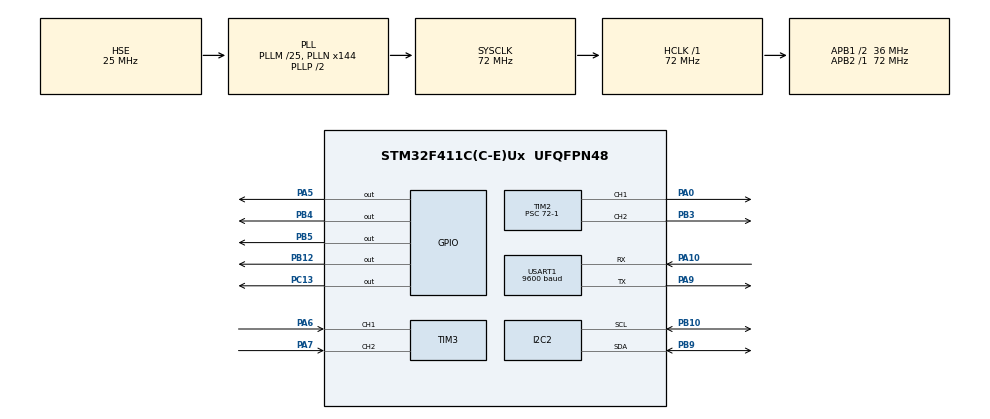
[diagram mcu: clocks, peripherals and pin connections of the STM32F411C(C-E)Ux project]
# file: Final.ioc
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Mcu.Family=STM32F4
Mcu.Name=STM32F411C(C-E)Ux
Mcu.Package=UFQFPN48
NVIC.PriorityGroup=NVIC_PRIORITYGROUP_4
NVIC.USART1_IRQn=true\:0\:0\:false\:false\:true\:true\:true\:true
PA0-WKUP.Signal=S_TIM2_CH1_ETR
PA10.Mode=Asynchronous
PA10.Signal=USART1_RX
PA5.Signal=GPIO_Output
PA6.Signal=S_TIM3_CH1
PA7.Signal=S_TIM3_CH2
PA9.Mode=Asynchronous
PA9.Signal=USART1_TX
PB10.Mode=I2C
PB10.Signal=I2C2_SCL
PB12.Signal=GPIO_Output
PB3.Signal=S_TIM2_CH2
PB4.Signal=GPIO_Output
PB5.Signal=GPIO_Output
PB9.Mode=I2C
PB9.Signal=I2C2_SDA
PC13-ANTI_TAMP.Signal=GPIO_Output
PH0\ -\ OSC_IN.Mode=HSE-External-Oscillator
PH0\ -\ OSC_IN.Signal=RCC_OSC_IN
PH1\ -\ OSC_OUT.Mode=HSE-External-Oscillator
PH1\ -\ OSC_OUT.Signal=RCC_OSC_OUT
ProjectManager.HeapSize=0x200
ProjectManager.StackSize=0x400
ProjectManager.TargetToolchain=STM32CubeIDE
RCC.48MHZClocksFreq_Value=36000000
RCC.AHBFreq_Value=72000000
RCC.APB1CLKDivider=RCC_HCLK_DIV2
RCC.APB1Freq_Value=36000000
RCC.APB1TimFreq_Value=72000000
RCC.APB2Freq_Value=72000000
RCC.APB2TimFreq_Value=72000000
RCC.CortexFreq_Value=72000000
RCC.HCLKFreq_Value=72000000
RCC.HSE_VALUE=25000000
RCC.HSI_VALUE=16000000
RCC.LSE_VALUE=32768
RCC.PLLM=25
RCC.PLLN=144
RCC.PLLSourceVirtual=RCC_PLLSOURCE_HSE
RCC.SYSCLKFreq_VALUE=72000000
RCC.SYSCLKSource=RCC_SYSCLKSOURCE_PLLCLK
RCC.VCOOutputFreq_Value=144000000
SH.S_TIM2_CH1_ETR.0=TIM2_CH1,PWM Generation1 CH1
SH.S_TIM2_CH2.0=TIM2_CH2,PWM Generation2 CH2
SH.S_TIM3_CH1.0=TIM3_CH1,Encoder_Interface
SH.S_TIM3_CH2.0=TIM3_CH2,Encoder_Interface
TIM2.Channel-PWM\ Generation1\ CH1=TIM_CHANNEL_1
TIM2.Channel-PWM\ Generation2\ CH2=TIM_CHANNEL_2
TIM2.Period=20000
TIM2.Prescaler=72-1
TIM2.Pulse-PWM\ Generation1\ CH1=500
USART1.BaudRate=9600
USART1.VirtualMode=VM_ASYNC
VP_TIM2_VS_ClockSourceINT.Mode=Internal
board=custom

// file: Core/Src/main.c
/* USER CODE BEGIN Header */
/**
  ******************************************************************************
  * @file           : main.c
  * @brief          : Main program body
  ******************************************************************************
  * @attention
  *
  * Copyright (c) 2024 STMicroelectronics.
  * All rights reserved.
  *
  * This software is licensed under terms that can be found in the LICENSE file
  * in the root directory of this software component.
  * If no LICENSE file comes with this software, it is provided AS-IS.
  *
  ******************************************************************************
  */
/* USER CODE END Header */
#include "main.h"

/* USER CODE BEGIN Includes */
#include <stdio.h>
#include <string.h>
#include <math.h>
#include <stdbool.h>
/* USER CODE END Includes */

/* USER CODE BEGIN PTD */
#define QMC5883L_ADDR        (0x0D << 1)
#define Kp                   4
#define Ki                   0.01
#define MIN_PWM              350
#define CENTER_PWM           500
#define MAX_PWM              650
#define MAX_SPEED            100
#define MIN_SPEED            25
#define CALIBRATION_TIME     10000 // ms
#define ENCODER_PPR          673
#define TIMER_PERIOD         65535
#define PWM_0DEGREES   	     1000  // 1 ms para 0°
#define PWM_180DEGREES 		 2000  // 2 ms para 180°
/* USER CODE END PTD */

/* USER CODE BEGIN PD */
int16_t x_offset = 0, y_offset = 0; // Offset de calibración
int16_t x, y, z;
uint8_t vel=0;
uint8_t pato=0;
uint8_t bucle=1;
int8_t a=20;
char buffer[64];
float angulo;
static uint8_t delay_flag_1 = 0;
static uint8_t delay_flag_2 = 0;
static uint8_t delay_flag_3 = 0;
// Variables globales para el control integral
float integral_sum = 0.0; // Acumulador del término integral
float previous_time = 0.0; // Tiempo previo para cálculo de la integración
uint8_t rxData;
int8_t rot = 0;     // Rango de -9 a 9, valor inicial 0
float grad = 0.0;   // Puede tener valores decimales para PWM
uint16_t posicion = 0;
char mi_string[15];
uint8_t calibrara = 0;
int16_t set_point;
uint16_t timer_counter, last_timer;
float rpm;
/* USER CODE END PD */

I2C_HandleTypeDef hi2c2;

TIM_HandleTypeDef htim2;
TIM_HandleTypeDef htim3;

UART_HandleTypeDef huart1;

void SystemClock_Config(void);
static void MX_GPIO_Init(void);
static void MX_I2C2_Init(void);
static void MX_TIM2_Init(void);
static void MX_TIM3_Init(void);
static void MX_USART1_UART_Init(void);

/* USER CODE BEGIN 0 */
void QMC5883L_Init() {
    uint8_t data[2];
    data[0] = 0x0B; // Registro de configuración 2
    data[1] = 0x01; // Reinicio de software
    HAL_I2C_Master_Transmit(&hi2c2, QMC5883L_ADDR, data, 2, HAL_MAX_DELAY);

    data[0] = 0x09; // Registro de control
    data[1] = 0x1D; // Configuración (ODR = 50Hz, RNG = 2G, OSR = 512)
    HAL_I2C_Master_Transmit(&hi2c2, QMC5883L_ADDR, data, 2, HAL_MAX_DELAY);
}
// Función para leer los datos de los ejes X, Y, Z
void QMC5883L_Read(int16_t *x, int16_t *y, int16_t *z, float *angulo) {
    uint8_t data[6];
    HAL_I2C_Mem_Read(&hi2c2, QMC5883L_ADDR, 0x00, I2C_MEMADD_SIZE_8BIT, data, 6, HAL_MAX_DELAY);

    *x = (int16_t)((data[1] << 8) | data[0]) - x_offset;
    *y = (int16_t)((data[3] << 8) | data[2]) - y_offset;
    *z = (int16_t)((data[5] << 8) | data[4]);

    // Calcular el ángulo en grados
    *angulo = atan2((float)*y, (float)*x) * (180.0 / M_PI);
    if (*angulo < 0) {
        *angulo += 360.0;  // Ajuste para obtener el ángulo en [0, 360] grados
    }
}
void Calibrate_Sensor() {
    int16_t x_min = 32767, x_max = -32768;
    int16_t y_min = 32767, y_max = -32768;

    uint32_t calibration_duration = HAL_GetTick() + 10000; // 10 segundos de calibración
    char buffer[64];

    snprintf(buffer, sizeof(buffer), "Calibrando... Gire el sensor 360 grados\r\n");
    HAL_UART_Transmit(&huart1, (uint8_t*)buffer, strlen(buffer), HAL_MAX_DELAY);

    while (HAL_GetTick() < calibration_duration) {
        QMC5883L_Read(&x, &y, &z, NULL);

        if (x < x_min) x_min = x;
        if (x > x_max) x_max = x;
        if (y < y_min) y_min = y;
        if (y > y_max) y_max = y;

        HAL_Delay(100); // Esperar antes de la siguiente lectura
    }

    // Calcular los offsets para centrar en cero
    x_offset = (x_max + x_min) / 2;
    y_offset = (y_max + y_min) / 2;

    snprintf(buffer, sizeof(buffer), "Calibracion completa.\r\n");
    HAL_UART_Transmit(&huart1, (uint8_t*)buffer, strlen(buffer), HAL_MAX_DELAY);
}
void Motor_forward() {
    HAL_GPIO_WritePin(GPIOB, GPIO_PIN_5, 0);
    HAL_GPIO_WritePin(GPIOB, GPIO_PIN_4, 1);
}
void Motor_backward() {
    HAL_GPIO_WritePin(GPIOB, GPIO_PIN_5, 1);
    HAL_GPIO_WritePin(GPIOB, GPIO_PIN_4, 0);
}
void stop(){
    // Dirección hacia adelante
    HAL_GPIO_WritePin(GPIOB, GPIO_PIN_5, 0);
    HAL_GPIO_WritePin(GPIOB, GPIO_PIN_4, 0);
}
// Función para configurar la velocidad del motor (PWM)
void Motor_SetSpeed(uint8_t speed) {
    if (speed > 100) speed = 100; // Limita el valor máximo a 100%
    if (speed < 0) speed = 0; // Limita el valor minimo a 0%
    // Calcula el valor de comparación para el duty cycle
    uint32_t pulse = (speed * __HAL_TIM_GET_AUTORELOAD(&htim2)) / 100;

    // Establece el duty cycle
    __HAL_TIM_SET_COMPARE(&htim2, TIM_CHANNEL_2, pulse);
}
// Función para calcular el tiempo transcurrido
float getElapsedTime() {
    static uint32_t last_tick = 0;
    uint32_t current_tick = HAL_GetTick(); // Obtiene el tiempo actual en ms
    float elapsed = (current_tick - last_tick) / 1000.0; // Convierte a segundos
    last_tick = current_tick;
    return elapsed;
}
// Función para calcular y aplicar el control PI
// Función para calcular y aplicar el control PI
void PIControl(float current_angle, float set_point) {
    // Calcula el error considerando la circularidad
    float error = set_point - current_angle;
    if (error > 180) error -= 360;
    if (error < -180) error += 360;

    // Tiempo transcurrido
    float dt = getElapsedTime();

    // Acumula el término integral
    integral_sum += error * dt;

    // Calcula el ajuste PI
    float adjustment = (Kp * error);

    // Calcula el nuevo valor PWM
    int pwm_value = CENTER_PWM + (int)adjustment;

    // Limita el valor PWM al rango permitido
    if (pwm_value < MIN_PWM) pwm_value = MIN_PWM;
    if (pwm_value > MAX_PWM) pwm_value = MAX_PWM;

    // Enviar el valor PWM al servo
    __HAL_TIM_SET_COMPARE(&htim2, TIM_CHANNEL_1, pwm_value);
}
void PIControlVelocidad(uint16_t encoder, uint16_t final) {
    // Calcula el error considerando la circularidad
    float error_v = final - encoder;

    // Calcula el ajuste PI
    float adjustment = (0.01 * error_v);

    // Calcula el nuevo valor PWM
    int vel = (int)adjustment;

    // Limita el valor PWM al rango permitido
    if (vel < MIN_SPEED) vel = MIN_SPEED;
    if (vel > MAX_SPEED) vel = MAX_SPEED;

    // Enviar el valor PWM al servo
    Motor_SetSpeed(vel);
}
/* USER CODE END 0 */

int main(void)
{

  /* MCU Configuration--------------------------------------------------------*/

  /* Reset of all peripherals, Initializes the Flash interface and the Systick. */
  HAL_Init();

  /* Configure the system clock */
  SystemClock_Config();

  /* Initialize all configured peripherals */
  MX_GPIO_Init();
  MX_I2C2_Init();
  MX_TIM2_Init();
  MX_TIM3_Init();
  MX_USART1_UART_Init();
  /* USER CODE BEGIN 2 */
  HAL_GPIO_WritePin(GPIOB, GPIO_PIN_12, 0);
  HAL_UART_Receive_IT(&huart1,&rxData,1); // Enabling interrupt receive
  HAL_TIM_PWM_Start(&htim2, TIM_CHANNEL_1); // Servo motor
  HAL_TIM_PWM_Start(&htim2, TIM_CHANNEL_2); // Velocidad de motor
  HAL_TIM_Encoder_Start(&htim3, TIM_CHANNEL_ALL);
  htim2.Instance -> CCR1 = 500;
  QMC5883L_Init();
  Calibrate_Sensor(); // Llamar a la función de calibración al inicio
  int16_t x, y, z;
  float angle;
  char buffer[64];
  HAL_GPIO_WritePin(GPIOB, GPIO_PIN_12, 0);
  HAL_Delay(3000);
  HAL_GPIO_WritePin(GPIOB, GPIO_PIN_12, 1);
  HAL_Delay(5000);
  Motor_forward();
  Motor_SetSpeed(25);
  QMC5883L_Read(&x, &y, &z, &angle);
  set_point = angle;
  /* USER CODE END 2 */

  /* Infinite loop */
  while (1)
  {
	  QMC5883L_Read(&x, &y, &z, &angle);
	  timer_counter = __HAL_TIM_GET_COUNTER(&htim3);
	  HAL_Delay(10); // Tiempo de actualización (10 ms)
	  snprintf(buffer, sizeof(buffer), "Timer_Counter %d, Set_Point: %d, angle: %.2f\r\n", timer_counter, set_point, angle);
	  HAL_UART_Transmit(&huart1, (uint8_t*)buffer, strlen(buffer), HAL_MAX_DELAY);
	  if (timer_counter < 7450) {
	      PIControl(angle, set_point); //Sp 117 primer check
	      PIControlVelocidad(timer_counter, 7450);
	      Motor_forward(); // Ajusta el servo con el controlador PI
	  }
	  else if (timer_counter >= 7450 && timer_counter < 15400) {

	      if (delay_flag_1 == 0) {
	    	  stop();
	          HAL_Delay(5000); // Retraso de 5 segundos
	          delay_flag_1 = 1; // Asegura que el retraso ocurra solo la primera vez
	          set_point += 90; //SP 212
	      }
	      if (set_point > 360) {
	      	          set_point -= 360;
	      	      } else if (set_point < 0) {
	      	          set_point += 360;
	      	      }
	      PIControlVelocidad(timer_counter, 15400);
	      Motor_forward(); // Ajusta el servo con el controlador PI
	      PIControl(angle , set_point);
	  }
	  else if (timer_counter >= 15400 && timer_counter < 24200) {

	      if (delay_flag_2 == 0) {
	    	  stop();
	          HAL_Delay(5000); // Retraso de 5 segundos
	          delay_flag_2 = 1; // Asegura que el retraso ocurra solo la primera vez
	          set_point += 89;//SP 307
	      }
	      if (set_point > 360) {
	      	          set_point -= 360;
	      	      } else if (set_point < 0) {
	      	          set_point += 360;
	      	      }
	      PIControlVelocidad(timer_counter, 24200);
	      Motor_forward(); // Ajusta el servo con el controlador PI
	      PIControl(angle , set_point);
	  }
	  else if (timer_counter >= 24200 && timer_counter < 32300) {
	      if (delay_flag_3 == 0) {
	          stop();
	          HAL_Delay(5000); // Retraso de 5 segundos
	          delay_flag_3 = 1; // Asegura que el retraso ocurra solo la primera vez
	          set_point += 87; // Ajusta el set_point
	      }

	      // Normaliza el set_point al rango 0-360
	      if (set_point > 360) {
	          set_point -= 360;
	      } else if (set_point < 0) {
	          set_point += 360;
	      }
	      PIControlVelocidad(timer_counter, 32300);
	      Motor_forward(); // Ajusta el servo con el controlador PI
	      PIControl(angle, set_point);
	  }

	  else {
	      delay_flag_1 = 0; // Reinicia la bandera para el primer rango
	      delay_flag_2 = 0; // Reinicia la bandera para el segundo rango
	      delay_flag_3 = 0; // Reinicia la bandera para el tercer rango
	      stop();
	  }

  }
}

void SystemClock_Config(void)
{
  RCC_OscInitTypeDef RCC_OscInitStruct = {0};
  RCC_ClkInitTypeDef RCC_ClkInitStruct = {0};

  /** Configure the main internal regulator output voltage
  */
  __HAL_RCC_PWR_CLK_ENABLE();
  __HAL_PWR_VOLTAGESCALING_CONFIG(PWR_REGULATOR_VOLTAGE_SCALE1);

  /** Initializes the RCC Oscillators according to the specified parameters
  * in the RCC_OscInitTypeDef structure.
  */
  RCC_OscInitStruct.OscillatorType = RCC_OSCILLATORTYPE_HSE;
  RCC_OscInitStruct.HSEState = RCC_HSE_ON;
  RCC_OscInitStruct.PLL.PLLState = RCC_PLL_ON;
  RCC_OscInitStruct.PLL.PLLSource = RCC_PLLSOURCE_HSE;
  RCC_OscInitStruct.PLL.PLLM = 25;
  RCC_OscInitStruct.PLL.PLLN = 144;
  RCC_OscInitStruct.PLL.PLLP = RCC_PLLP_DIV2;
  RCC_OscInitStruct.PLL.PLLQ = 4;
  if (HAL_RCC_OscConfig(&RCC_OscInitStruct) != HAL_OK)
  {
    Error_Handler();
  }

  /** Initializes the CPU, AHB and APB buses clocks
  */
  RCC_ClkInitStruct.ClockType = RCC_CLOCKTYPE_HCLK|RCC_CLOCKTYPE_SYSCLK
                              |RCC_CLOCKTYPE_PCLK1|RCC_CLOCKTYPE_PCLK2;
  RCC_ClkInitStruct.SYSCLKSource = RCC_SYSCLKSOURCE_PLLCLK;
  RCC_ClkInitStruct.AHBCLKDivider = RCC_SYSCLK_DIV1;
  RCC_ClkInitStruct.APB1CLKDivider = RCC_HCLK_DIV2;
  RCC_ClkInitStruct.APB2CLKDivider = RCC_HCLK_DIV1;

  if (HAL_RCC_ClockConfig(&RCC_ClkInitStruct, FLASH_LATENCY_2) != HAL_OK)
  {
    Error_Handler();
  }
}

static void MX_I2C2_Init(void)
{

  hi2c2.Instance = I2C2;
  hi2c2.Init.ClockSpeed = 100000;
  hi2c2.Init.DutyCycle = I2C_DUTYCYCLE_2;
  hi2c2.Init.OwnAddress1 = 0;
  hi2c2.Init.AddressingMode = I2C_ADDRESSINGMODE_7BIT;
  hi2c2.Init.DualAddressMode = I2C_DUALADDRESS_DISABLE;
  hi2c2.Init.OwnAddress2 = 0;
  hi2c2.Init.GeneralCallMode = I2C_GENERALCALL_DISABLE;
  hi2c2.Init.NoStretchMode = I2C_NOSTRETCH_DISABLE;
  if (HAL_I2C_Init(&hi2c2) != HAL_OK)
  {
    Error_Handler();
  }

}

static void MX_TIM2_Init(void)
{

  TIM_ClockConfigTypeDef sClockSourceConfig = {0};
  TIM_MasterConfigTypeDef sMasterConfig = {0};
  TIM_OC_InitTypeDef sConfigOC = {0};

  htim2.Instance = TIM2;
  htim2.Init.Prescaler = 72-1;
  htim2.Init.CounterMode = TIM_COUNTERMODE_UP;
  htim2.Init.Period = 20000;
  htim2.Init.ClockDivision = TIM_CLOCKDIVISION_DIV1;
  htim2.Init.AutoReloadPreload = TIM_AUTORELOAD_PRELOAD_DISABLE;
  if (HAL_TIM_Base_Init(&htim2) != HAL_OK)
  {
    Error_Handler();
  }
  sClockSourceConfig.ClockSource = TIM_CLOCKSOURCE_INTERNAL;
  if (HAL_TIM_ConfigClockSource(&htim2, &sClockSourceConfig) != HAL_OK)
  {
    Error_Handler();
  }
  if (HAL_TIM_PWM_Init(&htim2) != HAL_OK)
  {
    Error_Handler();
  }
  sMasterConfig.MasterOutputTrigger = TIM_TRGO_RESET;
  sMasterConfig.MasterSlaveMode = TIM_MASTERSLAVEMODE_DISABLE;
  if (HAL_TIMEx_MasterConfigSynchronization(&htim2, &sMasterConfig) != HAL_OK)
  {
    Error_Handler();
  }
  sConfigOC.OCMode = TIM_OCMODE_PWM1;
  sConfigOC.Pulse = 500;
  sConfigOC.OCPolarity = TIM_OCPOLARITY_HIGH;
  sConfigOC.OCFastMode = TIM_OCFAST_DISABLE;
  if (HAL_TIM_PWM_ConfigChannel(&htim2, &sConfigOC, TIM_CHANNEL_1) != HAL_OK)
  {
    Error_Handler();
  }
  sConfigOC.Pulse = 0;
  if (HAL_TIM_PWM_ConfigChannel(&htim2, &sConfigOC, TIM_CHANNEL_2) != HAL_OK)
  {
    Error_Handler();
  }
  HAL_TIM_MspPostInit(&htim2);

}

static void MX_TIM3_Init(void)
{

  TIM_Encoder_InitTypeDef sConfig = {0};
  TIM_MasterConfigTypeDef sMasterConfig = {0};

  htim3.Instance = TIM3;
  htim3.Init.Prescaler = 0;
  htim3.Init.CounterMode = TIM_COUNTERMODE_UP;
  htim3.Init.Period = 65535;
  htim3.Init.ClockDivision = TIM_CLOCKDIVISION_DIV1;
  htim3.Init.AutoReloadPreload = TIM_AUTORELOAD_PRELOAD_DISABLE;
  sConfig.EncoderMode = TIM_ENCODERMODE_TI1;
  sConfig.IC1Polarity = TIM_ICPOLARITY_RISING;
  sConfig.IC1Selection = TIM_ICSELECTION_DIRECTTI;
  sConfig.IC1Prescaler = TIM_ICPSC_DIV1;
  sConfig.IC1Filter = 0;
  sConfig.IC2Polarity = TIM_ICPOLARITY_RISING;
  sConfig.IC2Selection = TIM_ICSELECTION_DIRECTTI;
  sConfig.IC2Prescaler = TIM_ICPSC_DIV1;
  sConfig.IC2Filter = 0;
  if (HAL_TIM_Encoder_Init(&htim3, &sConfig) != HAL_OK)
  {
    Error_Handler();
  }
  sMasterConfig.MasterOutputTrigger = TIM_TRGO_RESET;
  sMasterConfig.MasterSlaveMode = TIM_MASTERSLAVEMODE_DISABLE;
  if (HAL_TIMEx_MasterConfigSynchronization(&htim3, &sMasterConfig) != HAL_OK)
  {
    Error_Handler();
  }

}

static void MX_USART1_UART_Init(void)
{

  huart1.Instance = USART1;
  huart1.Init.BaudRate = 9600;
  huart1.Init.WordLength = UART_WORDLENGTH_8B;
  huart1.Init.StopBits = UART_STOPBITS_1;
  huart1.Init.Parity = UART_PARITY_NONE;
  huart1.Init.Mode = UART_MODE_TX_RX;
  huart1.Init.HwFlowCtl = UART_HWCONTROL_NONE;
  huart1.Init.OverSampling = UART_OVERSAMPLING_16;
  if (HAL_UART_Init(&huart1) != HAL_OK)
  {
    Error_Handler();
  }

}

static void MX_GPIO_Init(void)
{
  GPIO_InitTypeDef GPIO_InitStruct = {0};

  /* GPIO Ports Clock Enable */
  __HAL_RCC_GPIOC_CLK_ENABLE();
  __HAL_RCC_GPIOH_CLK_ENABLE();
  __HAL_RCC_GPIOA_CLK_ENABLE();
  __HAL_RCC_GPIOB_CLK_ENABLE();

  /*Configure GPIO pin Output Level */
  HAL_GPIO_WritePin(GPIOC, GPIO_PIN_13, GPIO_PIN_RESET);

  /*Configure GPIO pin Output Level */
  HAL_GPIO_WritePin(GPIOA, GPIO_PIN_5, GPIO_PIN_RESET);

  /*Configure GPIO pin Output Level */
  HAL_GPIO_WritePin(GPIOB, GPIO_PIN_12|GPIO_PIN_4|GPIO_PIN_5, GPIO_PIN_RESET);

  /*Configure GPIO pin : PC13 */
  GPIO_InitStruct.Pin = GPIO_PIN_13;
  GPIO_InitStruct.Mode = GPIO_MODE_OUTPUT_PP;
  GPIO_InitStruct.Pull = GPIO_NOPULL;
  GPIO_InitStruct.Speed = GPIO_SPEED_FREQ_LOW;
  HAL_GPIO_Init(GPIOC, &GPIO_InitStruct);

  /*Configure GPIO pin : PA5 */
  GPIO_InitStruct.Pin = GPIO_PIN_5;
  GPIO_InitStruct.Mode = GPIO_MODE_OUTPUT_PP;
  GPIO_InitStruct.Pull = GPIO_NOPULL;
  GPIO_InitStruct.Speed = GPIO_SPEED_FREQ_LOW;
  HAL_GPIO_Init(GPIOA, &GPIO_InitStruct);

  /*Configure GPIO pins : PB12 PB4 PB5 */
  GPIO_InitStruct.Pin = GPIO_PIN_12|GPIO_PIN_4|GPIO_PIN_5;
  GPIO_InitStruct.Mode = GPIO_MODE_OUTPUT_PP;
  GPIO_InitStruct.Pull = GPIO_NOPULL;
  GPIO_InitStruct.Speed = GPIO_SPEED_FREQ_LOW;
  HAL_GPIO_Init(GPIOB, &GPIO_InitStruct);

}

/* USER CODE BEGIN 4 */
void HAL_UART_RxCpltCallback(UART_HandleTypeDef *huart)
{
  if(huart->Instance==USART1)
  {
    if(rxData==78) // Ascii value of 'N' is 78 (N for NO)
    {
    	HAL_GPIO_WritePin(GPIOB, GPIO_PIN_5, 1);
    	HAL_GPIO_WritePin(GPIOB, GPIO_PIN_4, 0);

    }
    else if (rxData==89) // Ascii value of 'Y' is 89 (Y for YES)
    {
    	HAL_GPIO_WritePin(GPIOB, GPIO_PIN_5, 0);
    	HAL_GPIO_WritePin(GPIOB, GPIO_PIN_4, 1);

    }
    else if (rxData==69) // Ascii value of 'E' is 89 (E for EXIT)
    {
        HAL_GPIO_WritePin(GPIOB, GPIO_PIN_5, 0);
        HAL_GPIO_WritePin(GPIOB, GPIO_PIN_4, 0);

    }
    else if (rxData==67) // Ascii value of 'C' (C is for calibrate)
    {
        calibrara = 1;

    }
    else if (rxData==89) // Ascii value of 'Y' (Speed up)
    {
    	if (vel > 100){
    		vel = 100;
    		Motor_SetSpeed(vel);
    	}
    	else{
    		vel += 10;
    		Motor_SetSpeed(vel);
    	}
    }
    else if (rxData==90) // Ascii value of 'Z' (Speed down)
    {
    	if (vel < 0){
    		vel = 0;
    		Motor_SetSpeed(vel);
    	}
    	else{
    		vel -= 10;
    		Motor_SetSpeed(vel);
    	}
    }
    else if (rxData==71) // Ascii value of 'G' (Speed down)
    {
    	if (posicion < 9000){
    		vel = 10;
    		Motor_SetSpeed(vel);
    	}
    	else{
    		vel =0;
    		Motor_SetSpeed(vel);
    	}
    }
    HAL_UART_Receive_IT(&huart1,&rxData,1); // Enabling interrupt receive again
  }
}
/* USER CODE END 4 */

void Error_Handler(void)
{
  __disable_irq();
  while (1)
  {
  }
}
